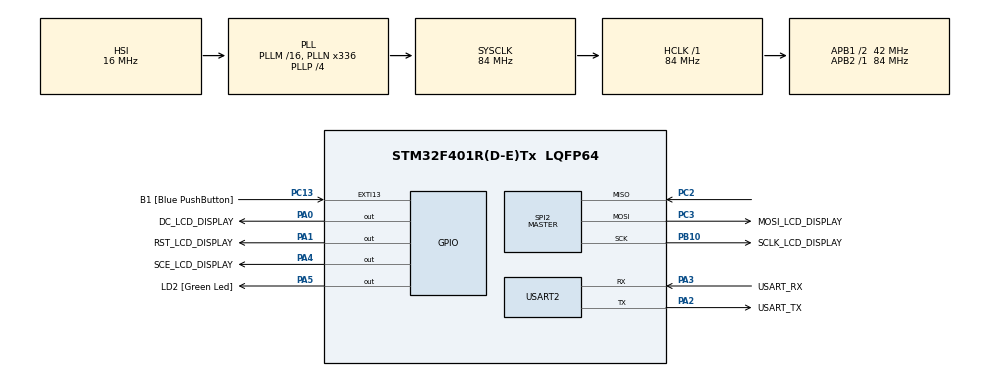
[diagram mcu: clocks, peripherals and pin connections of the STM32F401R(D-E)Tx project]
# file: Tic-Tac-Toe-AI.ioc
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Mcu.Family=STM32F4
Mcu.Name=STM32F401R(D-E)Tx
Mcu.Package=LQFP64
NVIC.PriorityGroup=NVIC_PRIORITYGROUP_0
NVIC.USART2_IRQn=true\:0\:0\:false\:false\:true\:true\:true\:true
PA0-WKUP.GPIO_Label=DC_LCD_DISPLAY
PA0-WKUP.Signal=GPIO_Output
PA1.GPIO_Label=RST_LCD_DISPLAY
PA1.Signal=GPIO_Output
PA13.GPIO_Label=TMS
PA13.Mode=Serial_Wire
PA13.Signal=SYS_JTMS-SWDIO
PA14.GPIO_Label=TCK
PA14.Mode=Serial_Wire
PA14.Signal=SYS_JTCK-SWCLK
PA2.GPIO_Label=USART_TX
PA2.GPIO_Mode=GPIO_MODE_AF_PP
PA2.GPIO_PuPd=GPIO_NOPULL
PA2.GPIO_Speed=GPIO_SPEED_FREQ_LOW
PA2.Mode=Asynchronous
PA2.Signal=USART2_TX
PA3.GPIO_Label=USART_RX
PA3.GPIO_Mode=GPIO_MODE_AF_PP
PA3.GPIO_PuPd=GPIO_NOPULL
PA3.GPIO_Speed=GPIO_SPEED_FREQ_LOW
PA3.Mode=Asynchronous
PA3.Signal=USART2_RX
PA4.GPIO_Label=SCE_LCD_DISPLAY
PA4.Signal=GPIO_Output
PA5.GPIO_Label=LD2 [Green Led]
PA5.GPIO_Mode=GPIO_MODE_OUTPUT_PP
PA5.GPIO_PuPd=GPIO_NOPULL
PA5.GPIO_Speed=GPIO_SPEED_FREQ_LOW
PA5.Signal=GPIO_Output
PB10.GPIO_Label=SCLK_LCD_DISPLAY
PB10.Mode=Full_Duplex_Master
PB10.Signal=SPI2_SCK
PB3.GPIO_Label=SWO
PB3.Signal=SYS_JTDO-SWO
PC13-ANTI_TAMP.GPIO_Label=B1 [Blue PushButton]
PC13-ANTI_TAMP.GPIO_ModeDefaultEXTI=GPIO_MODE_IT_FALLING
PC13-ANTI_TAMP.GPIO_PuPd=GPIO_NOPULL
PC13-ANTI_TAMP.Signal=GPXTI13
PC14-OSC32_IN.Mode=LSE-External-Oscillator
PC14-OSC32_IN.Signal=RCC_OSC32_IN
PC15-OSC32_OUT.Mode=LSE-External-Oscillator
PC15-OSC32_OUT.Signal=RCC_OSC32_OUT
PC2.Mode=Full_Duplex_Master
PC2.Signal=SPI2_MISO
PC3.GPIO_Label=MOSI_LCD_DISPLAY
PC3.Mode=Full_Duplex_Master
PC3.Signal=SPI2_MOSI
PH0\ -\ OSC_IN.Mode=HSE-External-Clock-Source
PH0\ -\ OSC_IN.Signal=RCC_OSC_IN
PH1\ -\ OSC_OUT.Mode=HSE-External-Clock-Source
PH1\ -\ OSC_OUT.Signal=RCC_OSC_OUT
ProjectManager.HeapSize=0x200
ProjectManager.StackSize=0x400
ProjectManager.TargetToolchain=STM32CubeIDE
RCC.48MHZClocksFreq_Value=48000000
RCC.AHBFreq_Value=84000000
RCC.APB1CLKDivider=RCC_HCLK_DIV2
RCC.APB1Freq_Value=42000000
RCC.APB1TimFreq_Value=84000000
RCC.APB2Freq_Value=84000000
RCC.APB2TimFreq_Value=84000000
RCC.CortexFreq_Value=84000000
RCC.HCLKFreq_Value=84000000
RCC.HSE_VALUE=8000000
RCC.HSI_VALUE=16000000
RCC.PLLN=336
RCC.PLLP=RCC_PLLP_DIV4
RCC.PLLQ=7
RCC.SYSCLKFreq_VALUE=84000000
RCC.SYSCLKSource=RCC_SYSCLKSOURCE_PLLCLK
RCC.VCOOutputFreq_Value=336000000
SPI2.Direction=SPI_DIRECTION_2LINES
SPI2.Mode=SPI_MODE_MASTER
SPI2.VirtualType=VM_MASTER
USART2.VirtualMode=VM_ASYNC
board=NUCLEO-F401RE

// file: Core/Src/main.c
/* USER CODE BEGIN Header */
/**
  ******************************************************************************
  * @file           : main.c
  * @brief          : Main program body
  ******************************************************************************
  * @attention
  *
  * Copyright (c) 2024 STMicroelectronics.
  * All rights reserved.
  *
  * This software is licensed under terms that can be found in the LICENSE file
  * in the root directory of this software component.
  * If no LICENSE file comes with this software, it is provided AS-IS.
  *
  ******************************************************************************
  */
/* USER CODE END Header */
#include "main.h"
#include "spi.h"
#include "usart.h"
#include "gpio.h"

/* USER CODE BEGIN Includes */
#include <time.h>
#include <stdbool.h>
#include "neural_network.h"
#include <stdio.h>
#include <string.h>
#include <stdlib.h>
#include "adafruit_PCD8544.h"
/* USER CODE END Includes */

/* USER CODE BEGIN PM */
// Definizione dei simboli
#define  O   -64  // (value=-64; shift=6; zero_point=0) -> -1.0f
#define  X    64  // (value=64; shift=6; zero_point=0)  ->  1.0f

// The TicTacToe board. Can be X (AI), O (Player) or 0 (Free).
int8_t board[9];
/* USER CODE END PM */

void SystemClock_Config(void);

/* USER CODE BEGIN 0 */

// Function to send a string over UART
/**
 * @brief Sends a string message through the specified UART interface.
 *
 * This function transmits a string message to the connected device via the UART
 * peripheral using the HAL_UART_Transmit function.
 *
 * @param huart Pointer to the UART_HandleTypeDef structure that contains
 *              the configuration information for the UART.
 * @param message Pointer to the string that needs to be transmitted.
 */
void Serial_Print(UART_HandleTypeDef *huart, const char *message) {
    HAL_UART_Transmit(huart, (uint8_t *)message, strlen(message), HAL_MAX_DELAY);
}

// Function to read a single character from UART
/**
 * @brief Reads a single character from the specified UART interface.
 *
 * This function waits for and receives a single character from the UART
 * interface. It blocks until a character is received, using the HAL_UART_Receive function.
 *
 * @param huart Pointer to the UART_HandleTypeDef structure that contains
 *              the configuration information for the UART.
 * @return uint8_t The received character.
 */
uint8_t Serial_ReadChar(UART_HandleTypeDef *huart) {
    uint8_t ch;
    HAL_UART_Receive(huart, &ch, 1, HAL_MAX_DELAY);
    return ch;
}

/**
 * @brief Checks if the Tic-Tac-Toe game board is full.
 *
 * This function iterates through the game board to check if all the cells
 * are filled with either an 'X' or an 'O'. If any cell is unfilled, it returns false.
 * If all cells are filled, it returns true.
 *
 * @param board An array representing the current state of the game board.
 *              The board is a 1D array with 9 elements, where each element
 *              represents a cell on the Tic-Tac-Toe grid.
 * @return bool True if the board is full, false otherwise.
 */
bool isFull(int8_t board[9]) {
    for (int i = 0; i < 9; i++) {
        if (board[i] != O && board[i] != X) {
            return false;
        }
    }
    return true;
}

/**
 * @brief Determines the winner of the Tic-Tac-Toe game.
 *
 * This function checks the game board to determine if there is a winner. It evaluates the
 * rows, columns, and diagonals to see if all cells in any row, column, or diagonal contain
 * the same symbol ('X' or 'O'). If so, it returns the winner symbol. If no winner is found,
 * it returns 0 (indicating a draw or incomplete game).
 *
 * The game board is represented as a 1D array of 9 elements, with each element being one of
 * the following:
 * - `X` for player X's move
 * - `O` for player O's move
 * - 0 or a neutral value for an empty cell.
 *
 * @param board A pointer to the array representing the Tic-Tac-Toe game board.
 *              The board is a 1D array of size 9, where each element represents a cell.
 *              The values should be either `X`, `O`, or a neutral value (such as 0) for an empty cell.
 *
 * @return Returns `X` if player X wins, `O` if player O wins, or `0` if there is no winner (draw or game in progress).
 */
int8_t winner(int8_t *board) {
    int i, j;
    int x_count = 0;
    int o_count = 0;

    // Check rows for a winner
    for (i = 0; i < 3; i++) {
        for (j = 0; j < 3; j++) {
            if (board[3 * i + j] == X) {
                x_count++;
            } else if (board[3 * i + j] == O) {
                o_count++;
            }
        }
        if (x_count == 3) return X;   // X wins if there are 3 X's in a row
        else if (o_count == 3) return O; // O wins if there are 3 O's in a row
        else x_count = o_count = 0;    // Reset counts for the next row
    }

    // Check columns for a winner
    for (i = 0; i < 3; i++) {
        for (j = 0; j < 3; j++) {
            if (board[3 * j + i] == X) {
                x_count++;
            } else if (board[3 * j + i] == O) {
                o_count++;
            }
        }
        if (x_count == 3) return X;  // X wins if there are 3 X's in a column
        else if (o_count == 3) return O; // O wins if there are 3 O's in a column
        else x_count = o_count = 0;  // Reset counts for the next column
    }

    // Check the first diagonal for a winner
    for (i = 0; i < 3; i++) {
        if (board[3 * i + i] == X) {
            x_count++;
        } else if (board[3 * i + i] == O) {
            o_count++;
        }
    }
    if (x_count == 3) return X;  // X wins if there are 3 X's on the diagonal
    else if (o_count == 3) return O; // O wins if there are 3 O's on the diagonal
    else x_count = o_count = 0;  // Reset counts for the next diagonal

    // Check the second diagonal for a winner
    for (i = 0; i < 3; i++) {
        if (board[3 * i + 2 - i] == X) {
            x_count++;
        } else if (board[3 * i + 2 - i] == O) {
            o_count++;
        }
    }
    if (x_count == 3) return X;  // X wins if there are 3 X's on the second diagonal
    else if (o_count == 3) return O; // O wins if there are 3 O's on the second diagonal

    return 0; // No winner, game is either ongoing or a draw
}

/**
 * @brief Implements the Tic-Tac-Toe game logic.
 *
 * This function implements the main game loop for a Tic-Tac-Toe game between a human player and an AI.
 * The game is played through serial communication, where the user inputs their move in the form of coordinates
 * (e.g., 'a1', 'b2', etc.), and the AI responds with its move.
 * The game continues until either the user or the AI wins, or the board is full and the game is drawn.
 *
 * The game board is managed as a 1D array with 9 cells, where `O` is the human player's move and `X` is the AI's move.
 * The user is asked to input their move via serial communication, and the game state is printed and updated on the display.
 *
 * @param huart A pointer to the UART_HandleTypeDef structure, which is used for serial communication.
 */
void tictactoe_game(UART_HandleTypeDef *huart) {

    uint8_t action;
    char user_input[2];
    uint8_t i;
    char buffer[100];

    // Initialize the game board (clear all cells)
    for (i = 0; i < 9; i++) {
        board[i] = 0;  // 0 represents an empty cell
    }

    // Start the Tic-Tac-Toe game and notify the player
    Serial_Print(huart,"############ New Game ############\n");

    // Print the current game board
    print_tictactoe_board(board);

    // Update the LCD display
    updateDisplay();

    delay(1000); // Wait for 1 second before starting the game

    // Main game loop (up to 5 turns, alternating between player and AI)
    for (i = 0; i < 5; i++) {
        user_input[0] = user_input[1] = 0; // Reset user input

        // Loop to read valid user input (coordinates in the form of 'a1', 'b3', etc.)
        while (1) {
            // Prompt user for input
            Serial_Print(huart,"Your turn: Please enter the coordinates (e.g. a3)\n");
            Serial_Print(huart, "you want to place an O and press >enter<\n");

            // Read the first character (column)
            user_input[0] = Serial_ReadChar(huart);
            delay(10);  // Small delay to prevent synchronization issues
            //Serial_Print(huart, "I read the first character!");

            // Read the second character (row)
            user_input[1] = Serial_ReadChar(huart);
            delay(10);  // Small delay to prevent synchronization issues
            //Serial_Print(huart, "I read the second character!");

            // Calculate the action (convert coordinates to board index)
            action = (user_input[0] - 97) + (user_input[1] - 48 - 1) * 3;

            // Validate user input: check for correct coordinates and empty cell
            if ((user_input[0] < 97 || user_input[0] > 99 || user_input[1] < 49 || user_input[1] > 51)) {
                Serial_Print(huart,"Wrong input. The coordinates have to be\n");
                Serial_Print(huart,"one of {a1, a2, a3, b1, b2, b3, c1, c2, c3}.\n");
                user_input[0] = user_input[1] = 0; // Reset input and prompt again
                continue;
            } else if (board[action] != 0) {
                Serial_Print(huart,"Wrong input. The field is already occupied.\n");
                user_input[0] = user_input[1] = 0; // Reset input and prompt again
                continue;
            }

            break;  // Exit the loop once valid input is provided
        }

        // Update the board with the user's move (O)
        board[action] = O;

        // Print user's move
        snprintf(buffer, 100, "User's move: %c, %c\n", user_input[0], user_input[1]);
        Serial_Print(huart, buffer);

        // Print the updated game board
        print_tictactoe_board(board);

        // Update the LCD display
        updateDisplay();

        delay(1000); // Wait for 1 second before continuing

        // Check if the user has won the game
        if (winner(board) == O) {
            Serial_Print(huart,"******* Congratulations: You won the game! *******\n");
            Serial_Print(huart, "This should be impossible in theory.\n");
            break;
        }

        // Measure the time taken for the AI to make its move
        double time_spent = 0.0;
        clock_t begin = clock();

        // Let the AI make its move
        action = run_ai_agent(board);

        clock_t end = clock();
        time_spent += (double)(end - begin) / CLOCKS_PER_SEC;

        // Update the board with AI's move (X)
        board[action] = X;

        // Print the time taken for AI's move
        snprintf(buffer, 100, "The AI took %f seconds to think about the turn.\n", time_spent);
        Serial_Print(huart, buffer);

        // Print AI's move
        snprintf(buffer, 100, "AI's move was %c%d\n", (char)(action % 3 + 97), (int)(action / 3 + 1));
        Serial_Print(huart, buffer);

        // Print the updated game board
        print_tictactoe_board(board);

        // Update the LCD display
        updateDisplay();

        // Check if the AI has won the game
        if (winner(board) == X) {
            Serial_Print(huart,"******* You lost the game! *******\n");

            delay(2000); // Wait for 2 seconds

            // Clear the LCD display and show the "You Lost" message
            clearDisplay(false);
            LCD_Print("You Lost the Game!", 0, 7);
            clearDisplay(false);

            delay(20000); // Wait for 20 seconds

            // Reset the game board and display
            draw_tictactoe_grid();
            updateDisplay();

            break;  // End the game
        }

        // Check if the board is full (game ends in a draw)
        if (isFull(board)) {
            Serial_Print(huart, "\n The board is full! Restarting the game.\n");

            clearDisplay(false);
            delay(2000);

            // Reset the board and redraw the grid
            draw_tictactoe_grid();
            delay(2000);

            updateDisplay();
        }
    }
}

/* USER CODE END 0 */

int main(void)
{

  /* MCU Configuration--------------------------------------------------------*/

  /* Reset of all peripherals, Initializes the Flash interface and the Systick. */
  HAL_Init();

  /* Configure the system clock */
  SystemClock_Config();

  /* Initialize all configured peripherals */
  MX_GPIO_Init();
  MX_SPI2_Init();
  MX_USART2_UART_Init();
  /* USER CODE BEGIN 2 */
  /**
   * Define the initialization of SPI LCD module
   */
  lcdBegin();
  setContrast(50);
  updateDisplay();

  delay(20000);

  clearDisplay(false);

  LCD_Print("Welcome in Tic-Tac-Toe Game", 1, 8);

  delay(5000);

  clearDisplay(false);

  delay(5000);

  draw_tictactoe_grid();

  updateDisplay();

  delay(5000);

  init_ai_agent(&huart2);
  /* USER CODE END 2 */

  /* Infinite loop */
  while (1)
  {
	  tictactoe_game(&huart2);
  }
}

void SystemClock_Config(void)
{
  RCC_OscInitTypeDef RCC_OscInitStruct = {0};
  RCC_ClkInitTypeDef RCC_ClkInitStruct = {0};

  /** Configure the main internal regulator output voltage
  */
  __HAL_RCC_PWR_CLK_ENABLE();
  __HAL_PWR_VOLTAGESCALING_CONFIG(PWR_REGULATOR_VOLTAGE_SCALE2);

  /** Initializes the RCC Oscillators according to the specified parameters
  * in the RCC_OscInitTypeDef structure.
  */
  RCC_OscInitStruct.OscillatorType = RCC_OSCILLATORTYPE_HSI;
  RCC_OscInitStruct.HSIState = RCC_HSI_ON;
  RCC_OscInitStruct.HSICalibrationValue = RCC_HSICALIBRATION_DEFAULT;
  RCC_OscInitStruct.PLL.PLLState = RCC_PLL_ON;
  RCC_OscInitStruct.PLL.PLLSource = RCC_PLLSOURCE_HSI;
  RCC_OscInitStruct.PLL.PLLM = 16;
  RCC_OscInitStruct.PLL.PLLN = 336;
  RCC_OscInitStruct.PLL.PLLP = RCC_PLLP_DIV4;
  RCC_OscInitStruct.PLL.PLLQ = 7;
  if (HAL_RCC_OscConfig(&RCC_OscInitStruct) != HAL_OK)
  {
    Error_Handler();
  }

  /** Initializes the CPU, AHB and APB buses clocks
  */
  RCC_ClkInitStruct.ClockType = RCC_CLOCKTYPE_HCLK|RCC_CLOCKTYPE_SYSCLK
                              |RCC_CLOCKTYPE_PCLK1|RCC_CLOCKTYPE_PCLK2;
  RCC_ClkInitStruct.SYSCLKSource = RCC_SYSCLKSOURCE_PLLCLK;
  RCC_ClkInitStruct.AHBCLKDivider = RCC_SYSCLK_DIV1;
  RCC_ClkInitStruct.APB1CLKDivider = RCC_HCLK_DIV2;
  RCC_ClkInitStruct.APB2CLKDivider = RCC_HCLK_DIV1;

  if (HAL_RCC_ClockConfig(&RCC_ClkInitStruct, FLASH_LATENCY_2) != HAL_OK)
  {
    Error_Handler();
  }
}

void Error_Handler(void)
{
  __disable_irq();
  while (1)
  {
  }
}
